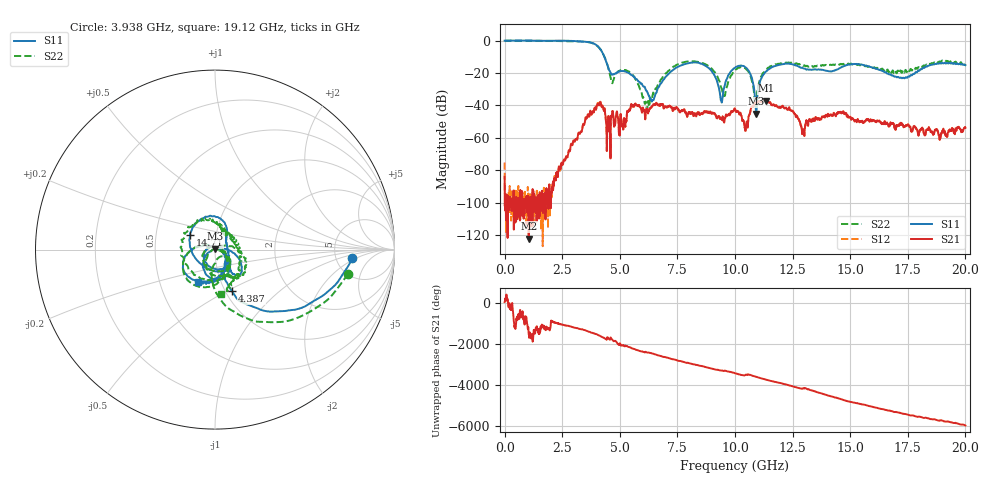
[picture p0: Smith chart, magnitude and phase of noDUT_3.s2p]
#  HZ  S  RI  R  50.00
! Rohde & Schwarz Vector Network Analyzer
! Rohde-Schwarz,ZNB20-2Port,1311601062102128,3.60
! Created: UTC 4/29/2024, 3:49:55 PM
! freq[Hz]  re:S11  im:S11  re:S21  im:S21  re:S12  im:S12  re:S22  im:S22
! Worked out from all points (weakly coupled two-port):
!   2007 points, 100 kHz to 20 GHz, reference 50 ohm
!   highest |S21| = -37.09 dB at 11.35 GHz (marker M1); lowest = -122.1 dB at 1.047 GHz (marker M2)
!   lowest |S11| = -45.0 dB at 10.93 GHz (marker M3), VSWR 1.01, Z = 50.1 + j0.546 ohm
!   |S11| at or under -10 dB: 4.333 GHz to end of sweep
!   |S22| runs from -42.8 to 0.1 dB; largest |S21 - S12| = 0.0008
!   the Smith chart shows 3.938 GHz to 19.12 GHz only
!   S11 on the Smith chart (normalised r, x): 3.938 GHz: 7.19, -1.60; 4.387 GHz: 1.07, -0.53; 14.71 GHz: 0.75, +0.13; 19.12 GHz: 0.78, -0.29
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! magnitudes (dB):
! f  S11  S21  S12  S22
! 100 kHz  0.0  -84.0  -75.2  0.1
! 1.047 GHz  0.1  -122.1  -98.4  0.0
! 2.333 GHz  0.0  -80.9  -80.1  -0.3
! 3.34 GHz  -0.6  -56.4  -56.1  -0.6
! 3.938 GHz  -2.3  -41.4  -41.0  -2.5
! 4.387 GHz  -12.1  -47.5  -47.5  -11.8
! 4.666 GHz  -21.0  -44.7  -44.6  -25.9
! 5.533 GHz  -21.4  -40.3  -40.2  -21.0
! 6.182 GHz  -31.3  -42.6  -42.6  -42.8
! 6.67 GHz  -28.9  -39.5  -39.5  -26.6
! 8.345 GHz  -13.5  -45.0  -45.0  -13.0
! 9.422 GHz  -38.2  -48.5  -48.5  -29.5
! 10 GHz  -16.7  -42.1  -42.1  -18.4
! 10.47 GHz  -16.5  -54.4  -54.5  -17.3
! 10.93 GHz  -45.0  -38.5  -38.5  -38.0
! 11.35 GHz  -19.1  -37.1  -37.2  -17.9
! 12.94 GHz  -16.9  -56.0  -55.9  -15.5
! 13.34 GHz  -17.9  -48.4  -48.4  -15.8
! 14.71 GHz  -15.9  -43.8  -43.6  -14.3
! 16.67 GHz  -20.7  -53.0  -53.0  -19.4
! 19.12 GHz  -13.9  -58.0  -58.0  -12.1
! 20 GHz  -15.2  -53.7  -53.9  -14.4
